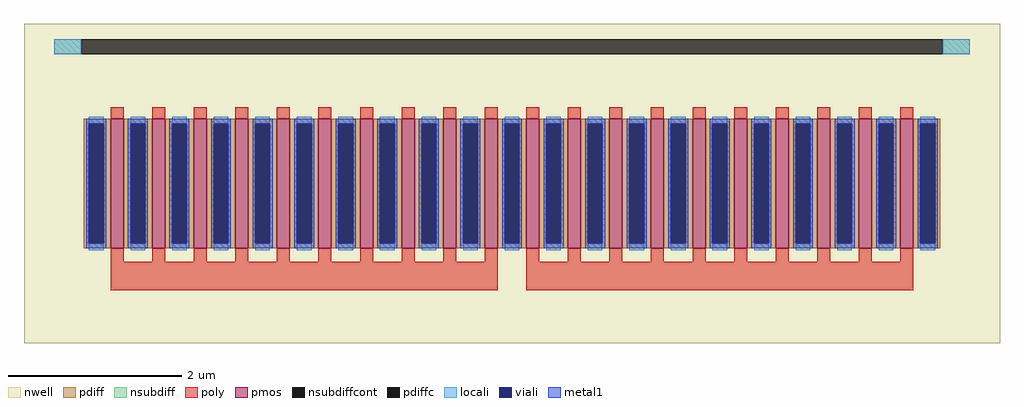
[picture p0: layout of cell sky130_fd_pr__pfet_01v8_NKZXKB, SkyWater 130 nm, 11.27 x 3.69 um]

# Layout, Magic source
magic
tech sky130A
magscale 1 2
<< nwell >>
rect -1127 -369 1127 369
<< pmos >>
rect -927 -150 -897 150
rect -831 -150 -801 150
rect -735 -150 -705 150
rect -639 -150 -609 150
rect -543 -150 -513 150
rect -447 -150 -417 150
rect -351 -150 -321 150
rect -255 -150 -225 150
rect -159 -150 -129 150
rect -63 -150 -33 150
rect 33 -150 63 150
rect 129 -150 159 150
rect 225 -150 255 150
rect 321 -150 351 150
rect 417 -150 447 150
rect 513 -150 543 150
rect 609 -150 639 150
rect 705 -150 735 150
rect 801 -150 831 150
rect 897 -150 927 150
<< pdiff >>
rect -989 138 -927 150
rect -989 -138 -977 138
rect -943 -138 -927 138
rect -989 -150 -927 -138
rect -897 138 -831 150
rect -897 -138 -881 138
rect -847 -138 -831 138
rect -897 -150 -831 -138
rect -801 138 -735 150
rect -801 -138 -785 138
rect -751 -138 -735 138
rect -801 -150 -735 -138
rect -705 138 -639 150
rect -705 -138 -689 138
rect -655 -138 -639 138
rect -705 -150 -639 -138
rect -609 138 -543 150
rect -609 -138 -593 138
rect -559 -138 -543 138
rect -609 -150 -543 -138
rect -513 138 -447 150
rect -513 -138 -497 138
rect -463 -138 -447 138
rect -513 -150 -447 -138
rect -417 138 -351 150
rect -417 -138 -401 138
rect -367 -138 -351 138
rect -417 -150 -351 -138
rect -321 138 -255 150
rect -321 -138 -305 138
rect -271 -138 -255 138
rect -321 -150 -255 -138
rect -225 138 -159 150
rect -225 -138 -209 138
rect -175 -138 -159 138
rect -225 -150 -159 -138
rect -129 138 -63 150
rect -129 -138 -113 138
rect -79 -138 -63 138
rect -129 -150 -63 -138
rect -33 138 33 150
rect -33 -138 -17 138
rect 17 -138 33 138
rect -33 -150 33 -138
rect 63 138 129 150
rect 63 -138 79 138
rect 113 -138 129 138
rect 63 -150 129 -138
rect 159 138 225 150
rect 159 -138 175 138
rect 209 -138 225 138
rect 159 -150 225 -138
rect 255 138 321 150
rect 255 -138 271 138
rect 305 -138 321 138
rect 255 -150 321 -138
rect 351 138 417 150
rect 351 -138 367 138
rect 401 -138 417 138
rect 351 -150 417 -138
rect 447 138 513 150
rect 447 -138 463 138
rect 497 -138 513 138
rect 447 -150 513 -138
rect 543 138 609 150
rect 543 -138 559 138
rect 593 -138 609 138
rect 543 -150 609 -138
rect 639 138 705 150
rect 639 -138 655 138
rect 689 -138 705 138
rect 639 -150 705 -138
rect 735 138 801 150
rect 735 -138 751 138
rect 785 -138 801 138
rect 735 -150 801 -138
rect 831 138 897 150
rect 831 -138 847 138
rect 881 -138 897 138
rect 831 -150 897 -138
rect 927 138 989 150
rect 927 -138 943 138
rect 977 -138 989 138
rect 927 -150 989 -138
<< pdiffc >>
rect -977 -138 -943 138
rect -881 -138 -847 138
rect -785 -138 -751 138
rect -689 -138 -655 138
rect -593 -138 -559 138
rect -497 -138 -463 138
rect -401 -138 -367 138
rect -305 -138 -271 138
rect -209 -138 -175 138
rect -113 -138 -79 138
rect -17 -138 17 138
rect 79 -138 113 138
rect 175 -138 209 138
rect 271 -138 305 138
rect 367 -138 401 138
rect 463 -138 497 138
rect 559 -138 593 138
rect 655 -138 689 138
rect 751 -138 785 138
rect 847 -138 881 138
rect 943 -138 977 138
<< nsubdiff >>
rect -1057 299 -995 333
rect 995 299 1057 333
<< nsubdiffcont >>
rect -995 299 995 333
<< poly >>
rect -927 150 -897 176
rect -831 150 -801 176
rect -735 150 -705 176
rect -639 150 -609 176
rect -543 150 -513 176
rect -447 150 -417 176
rect -351 150 -321 176
rect -255 150 -225 176
rect -159 150 -129 176
rect -63 150 -33 176
rect 33 150 63 176
rect 129 150 159 176
rect 225 150 255 176
rect 321 150 351 176
rect 417 150 447 176
rect 513 150 543 176
rect 609 150 639 176
rect 705 150 735 176
rect 801 150 831 176
rect 897 150 927 176
rect -927 -181 -897 -150
rect -831 -181 -801 -150
rect -735 -181 -705 -150
rect -639 -181 -609 -150
rect -543 -181 -513 -150
rect -447 -181 -417 -150
rect -351 -181 -321 -150
rect -255 -181 -225 -150
rect -159 -181 -129 -150
rect -63 -181 -33 -150
rect -927 -247 -33 -181
rect 33 -181 63 -150
rect 129 -181 159 -150
rect 225 -181 255 -150
rect 321 -181 351 -150
rect 417 -181 447 -150
rect 513 -181 543 -150
rect 609 -181 639 -150
rect 705 -181 735 -150
rect 801 -181 831 -150
rect 897 -181 927 -150
rect 33 -247 927 -181
<< locali >>
rect -1057 299 -995 333
rect 995 299 1057 333
rect -977 138 -943 154
rect -977 -154 -943 -138
rect -881 138 -847 154
rect -881 -154 -847 -138
rect -785 138 -751 154
rect -785 -154 -751 -138
rect -689 138 -655 154
rect -689 -154 -655 -138
rect -593 138 -559 154
rect -593 -154 -559 -138
rect -497 138 -463 154
rect -497 -154 -463 -138
rect -401 138 -367 154
rect -401 -154 -367 -138
rect -305 138 -271 154
rect -305 -154 -271 -138
rect -209 138 -175 154
rect -209 -154 -175 -138
rect -113 138 -79 154
rect -113 -154 -79 -138
rect -17 138 17 154
rect -17 -154 17 -138
rect 79 138 113 154
rect 79 -154 113 -138
rect 175 138 209 154
rect 175 -154 209 -138
rect 271 138 305 154
rect 271 -154 305 -138
rect 367 138 401 154
rect 367 -154 401 -138
rect 463 138 497 154
rect 463 -154 497 -138
rect 559 138 593 154
rect 559 -154 593 -138
rect 655 138 689 154
rect 655 -154 689 -138
rect 751 138 785 154
rect 751 -154 785 -138
rect 847 138 881 154
rect 847 -154 881 -138
rect 943 138 977 154
rect 943 -154 977 -138
<< viali >>
rect -977 -138 -943 138
rect -881 -138 -847 138
rect -785 -138 -751 138
rect -689 -138 -655 138
rect -593 -138 -559 138
rect -497 -138 -463 138
rect -401 -138 -367 138
rect -305 -138 -271 138
rect -209 -138 -175 138
rect -113 -138 -79 138
rect -17 -138 17 138
rect 79 -138 113 138
rect 175 -138 209 138
rect 271 -138 305 138
rect 367 -138 401 138
rect 463 -138 497 138
rect 559 -138 593 138
rect 655 -138 689 138
rect 751 -138 785 138
rect 847 -138 881 138
rect 943 -138 977 138
<< metal1 >>
rect -983 138 -937 150
rect -983 -138 -977 138
rect -943 -138 -937 138
rect -983 -150 -937 -138
rect -887 138 -841 150
rect -887 -138 -881 138
rect -847 -138 -841 138
rect -887 -150 -841 -138
rect -791 138 -745 150
rect -791 -138 -785 138
rect -751 -138 -745 138
rect -791 -150 -745 -138
rect -695 138 -649 150
rect -695 -138 -689 138
rect -655 -138 -649 138
rect -695 -150 -649 -138
rect -599 138 -553 150
rect -599 -138 -593 138
rect -559 -138 -553 138
rect -599 -150 -553 -138
rect -503 138 -457 150
rect -503 -138 -497 138
rect -463 -138 -457 138
rect -503 -150 -457 -138
rect -407 138 -361 150
rect -407 -138 -401 138
rect -367 -138 -361 138
rect -407 -150 -361 -138
rect -311 138 -265 150
rect -311 -138 -305 138
rect -271 -138 -265 138
rect -311 -150 -265 -138
rect -215 138 -169 150
rect -215 -138 -209 138
rect -175 -138 -169 138
rect -215 -150 -169 -138
rect -119 138 -73 150
rect -119 -138 -113 138
rect -79 -138 -73 138
rect -119 -150 -73 -138
rect -23 138 23 150
rect -23 -138 -17 138
rect 17 -138 23 138
rect -23 -150 23 -138
rect 73 138 119 150
rect 73 -138 79 138
rect 113 -138 119 138
rect 73 -150 119 -138
rect 169 138 215 150
rect 169 -138 175 138
rect 209 -138 215 138
rect 169 -150 215 -138
rect 265 138 311 150
rect 265 -138 271 138
rect 305 -138 311 138
rect 265 -150 311 -138
rect 361 138 407 150
rect 361 -138 367 138
rect 401 -138 407 138
rect 361 -150 407 -138
rect 457 138 503 150
rect 457 -138 463 138
rect 497 -138 503 138
rect 457 -150 503 -138
rect 553 138 599 150
rect 553 -138 559 138
rect 593 -138 599 138
rect 553 -150 599 -138
rect 649 138 695 150
rect 649 -138 655 138
rect 689 -138 695 138
rect 649 -150 695 -138
rect 745 138 791 150
rect 745 -138 751 138
rect 785 -138 791 138
rect 745 -150 791 -138
rect 841 138 887 150
rect 841 -138 847 138
rect 881 -138 887 138
rect 841 -150 887 -138
rect 937 138 983 150
rect 937 -138 943 138
rect 977 -138 983 138
rect 937 -150 983 -138
<< properties >>
string gencell sky130_fd_pr__pfet_01v8
string FIXED_BBOX -1074 -316 1074 316
string parameters w 1.5 l 0.15 m 1 nf 20 diffcov 100 polycov 100 guard 1 glc 1 grc 0 gtc 1 gbc 0 tbcov 100 rlcov 100 topc 0 botc 1 poverlap 0 doverlap 1 lmin 0.15 wmin 0.42 compatible {sky130_fd_pr__pfet_01v8  sky130_fd_pr__pfet_01v8_lvt sky130_fd_pr__pfet_01v8_hvt  sky130_fd_pr__pfet_g5v0d10v5} full_metal 1 viasrc 100 viadrn 100 viagate 100 viagb 0 viagr 0 viagl 0 viagt 0
string library sky130
<< end >>
